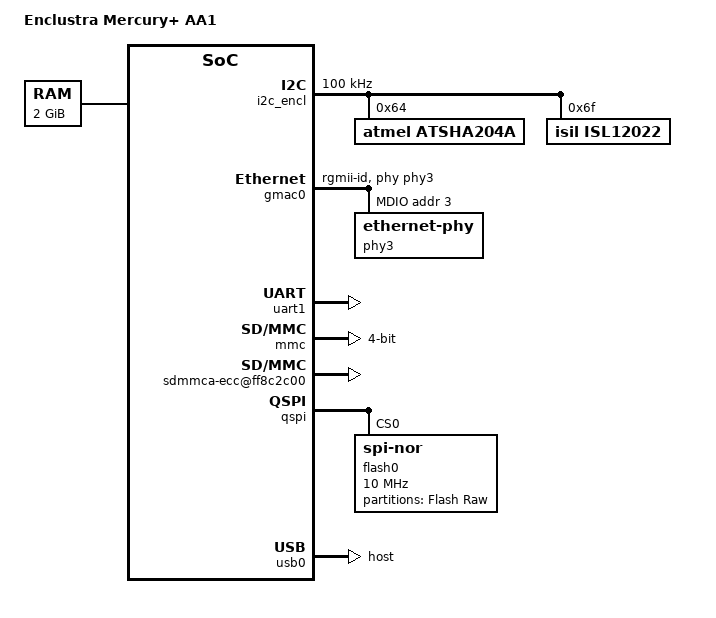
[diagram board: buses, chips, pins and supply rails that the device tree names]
// SPDX-License-Identifier: GPL-2.0
/*
 * Copyright 2022 Google LLC
 */

#include "socfpga_arria10.dtsi"

/ {

	model = "Enclustra Mercury+ AA1";
	compatible = "enclustra,mercury-aa1",
		     "altr,socfpga-arria10", "altr,socfpga";

	aliases {
		ethernet0 = &gmac0;
		serial1 = &uart1;
		spi0 = &qspi;
	};

	memory@0 {
		name = "memory";
		device_type = "memory";
		reg = <0x0 0x80000000>; /* 2GB */
	};

	chosen {
		stdout-path = "serial1:115200n8";
	};

	/* Adjusted the i2c labels to use generic base-board dtsi files for
	 * Enclustra Arria10 and Cyclone5 SoMs.
	 *
	 * The set of i2c0 and i2c1 labels defined in socfpga_cyclone5.dtsi and in
	 * socfpga_arria10.dtsi do not allow for using the same base-board .dtsi
	 * fragments. Thus define generic labels here to match the correct i2c
	 * bus in a generic base-board .dtsi file.
	 */
	soc {
		i2c_encl: i2c@ffc02300 {
		};
		i2c_encl_fpga: i2c@ffc02200 {
		};
	};
};

&i2c_encl {
	status = "okay";
	i2c-sda-hold-time-ns = <300>;
	clock-frequency = <100000>;

	atsha204a: crypto@64 {
		compatible = "atmel,atsha204a";
		reg = <0x64>;
	};

	isl12022: rtc@6f {
		compatible = "isil,isl12022";
		reg = <0x6f>;
	};
};

&i2c_encl_fpga {
	i2c-sda-hold-time-ns = <300>;
	status = "disabled";
};

&gmac0 {
	status = "okay";
	phy-mode = "rgmii-id";
	phy-addr = <0xffffffff>; /* probe for phy addr */
	max-frame-size = <3800>;
	phy-handle = <&phy3>;

	/delete-property/ mac-address;

	mdio {
		#address-cells = <1>;
		#size-cells = <0>;
		compatible = "snps,dwmac-mdio";
		phy3: ethernet-phy@3 {
			reg = <3>;

			/* Add 2ns RX clock delay (1.2ns + 0.78ns)*/
			rxc-skew-ps = <1680>; /* 780ps */
			rxd0-skew-ps = <420>; /* 0ps */
			rxd1-skew-ps = <420>; /* 0ps */
			rxd2-skew-ps = <420>; /* 0ps */
			rxd3-skew-ps = <420>; /* 0ps */
			rxdv-skew-ps = <420>; /* 0ps */

			/* Add 1.38ns TX clock delay (0.96ns + 0.42ns)*/
			txc-skew-ps = <1860>; /* 960ps */
			txd0-skew-ps = <0>; /* -420ps */
			txd1-skew-ps = <0>; /* -420ps */
			txd2-skew-ps = <0>; /* -420ps */
			txd3-skew-ps = <0>; /* -420ps */
			txen-skew-ps = <0>; /* -420ps */
		};
	};
};

&gpio0 {
	status = "okay";
};

&gpio1 {
	status = "okay";
};

&gpio2 {
	status = "okay";
};

&uart0 {
	status = "disabled";
};

&uart1 {
	status = "okay";
};

/* Following mappings are taken from arria10 socdk dts */
&mmc {
	status = "okay";
	cap-sd-highspeed;
	broken-cd;
	bus-width = <4>;
	clk-phase-sd-hs = <0>, <135>;
};

&osc1 {
	clock-frequency = <33330000>;
};

&eccmgr {
	sdmmca-ecc@ff8c2c00 {
		compatible = "altr,socfpga-sdmmc-ecc";
		reg = <0xff8c2c00 0x400>;
		altr,ecc-parent = <&mmc>;
		interrupts = <15 IRQ_TYPE_LEVEL_HIGH>,
					 <47 IRQ_TYPE_LEVEL_HIGH>,
					 <16 IRQ_TYPE_LEVEL_HIGH>,
					 <48 IRQ_TYPE_LEVEL_HIGH>;
	};
};

&qspi {
	status = "okay";
	flash0: flash@0 {
		u-boot,dm-pre-reloc;
		#address-cells = <1>;
		#size-cells = <1>;
		compatible = "jedec,spi-nor";
		reg = <0>;

		spi-rx-bus-width = <4>;
		spi-tx-bus-width = <4>;
		spi-max-frequency = <10000000>;

		cdns,read-delay = <4>;
		cdns,tshsl-ns = <50>;
		cdns,tsd2d-ns = <50>;
		cdns,tchsh-ns = <4>;
		cdns,tslch-ns = <4>;

		partition@raw {
			label = "Flash Raw";
			reg = <0x0 0x4000000>;
		};
	};
};

&watchdog1 {
	status = "disabled";
};

&usb0 {
	status = "okay";
	dr_mode = "host";
};
